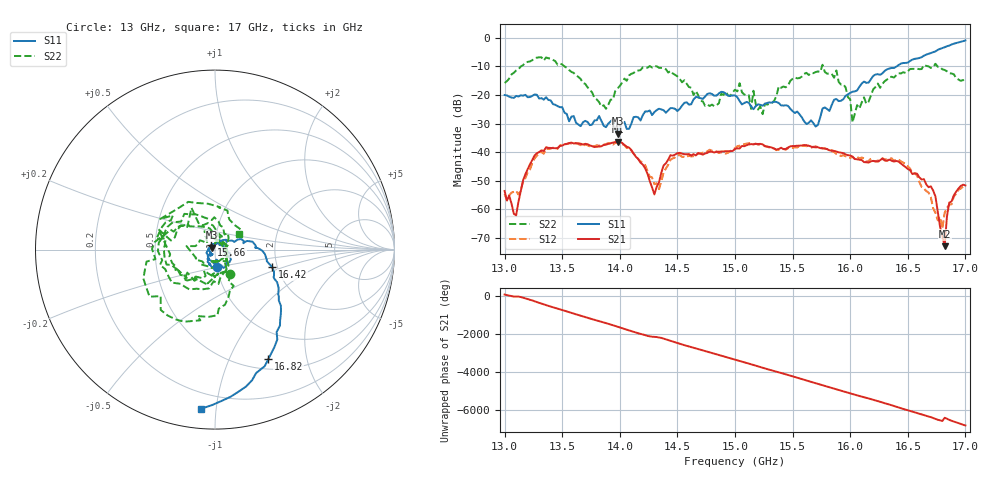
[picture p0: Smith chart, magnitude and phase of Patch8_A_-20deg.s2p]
!Keysight Technologies,P9374A,MY57211810,A.19.30.04
!Date: Friday, May 09, 2025 09:14:28
!Correction: S11(Cdelta 2-Port  )
!S21(Cdelta 2-Port  )
!S12(Cdelta 2-Port  )
!S22(Cdelta 2-Port  )
!S2P File: Measurements: S11, S21, S12, S22:
# Hz S  dB  R 50
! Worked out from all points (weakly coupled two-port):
!   201 points, 13 GHz to 17 GHz, reference 50 ohm
!   highest |S21| = -36.29 dB at 13.98 GHz (marker M1); lowest = -72.8 dB at 16.82 GHz (marker M2)
!   lowest |S11| = -33.6 dB at 13.98 GHz (marker M3), VSWR 1.04, Z = 48.2 + j1.03 ohm
!   |S11| at or under -10 dB: start of sweep to 16.41 GHz
!   |S22| runs from -29.6 to -6.9 dB; largest |S21 - S12| = 0.0019
!   S11 on the Smith chart (normalised r, x): 13 GHz: 1.01, -0.20; 15.66 GHz: 0.96, +0.05; 16.42 GHz: 1.87, -0.41; 16.82 GHz: 0.63, -1.41; 17 GHz: 0.11, -0.91
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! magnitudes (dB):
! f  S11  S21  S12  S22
! 13 GHz  -20.1  -53.6  -54.7  -15.9
! 13.1 GHz  -20.4  -62.1  -53.5  -11.5
! 13.26 GHz  -19.9  -41.2  -42.2  -7.2
! 13.68 GHz  -29.6  -37.3  -38.0  -15.8
! 13.88 GHz  -31.3  -37.4  -37.2  -24.8
! 13.98 GHz  -33.6  -36.3  -36.7  -17.8
! 14.34 GHz  -24.8  -50.6  -52.9  -10.5
! 14.44 GHz  -24.6  -41.1  -42.6  -11.6
! 14.74 GHz  -20.6  -40.5  -40.2  -23.8
! 15 GHz  -20.2  -38.9  -38.6  -18.2
! 15.24 GHz  -23.8  -37.3  -37.5  -26.7
! 15.66 GHz  -28.9  -38.0  -38.5  -12.3
! 15.68 GHz  -29.9  -38.2  -38.1  -12.4
! 15.88 GHz  -21.4  -39.8  -40.6  -11.5
! 16.02 GHz  -18.9  -41.5  -41.6  -29.6
! 16.34 GHz  -10.8  -42.6  -42.1  -13.8
! 16.42 GHz  -9.6  -43.3  -42.6  -12.4
! 16.7 GHz  -5.4  -51.9  -55.8  -10.6
! 16.8 GHz  -3.7  -69.3  -66.6  -11.1
! 16.82 GHz  -3.4  -72.8  -61.2  -11.3
! 16.86 GHz  -2.8  -57.6  -58.3  -12.5
! 17 GHz  -1.0  -51.6  -52.0  -15.8
